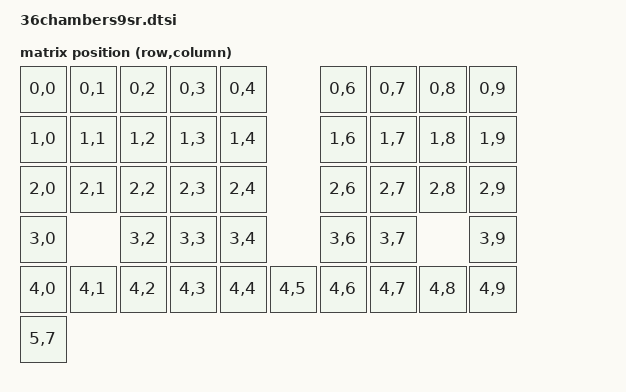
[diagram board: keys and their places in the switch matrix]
/*
 * Copyright (c) 2020 The ZMK Contributors
 *
 * SPDX-License-Identifier: MIT
 */

#include <dt-bindings/zmk/matrix_transform.h>

/ {
	chosen {
		zmk,kscan = &kscan0;
		zmk,matrix_transform = &default_transform;
	};

	default_transform: keymap_transform_0 {
		compatible = "zmk,matrix-transform";
		columns = <10>;
        
		rows = <6>;
// | SW1  | SW2  | SW3  | SW4  | SW5  |   | SW5  | SW4  | SW3  | SW2  | SW1  |
// | SW6  | SW7  | SW8  | SW9  | SW10 |   | SW10 | SW9  | SW8  | SW7  | SW6  |
// | SW11 | SW12 | SW13 | SW14 | SW15 |   | SW15 | SW14 | SW13 | SW12 | SW11 |
// | SW16 |      |      | SW17 | SW18 |   | SW19 | SW19 | SW18 |      | SW16 |
// | U3A  | U3CT | U3C  | U3B  | U3D  |   | SW24 | SW23 | SW22 | SW21 | SW20 |
		map = <
RC(0,0) RC(0,1) RC(0,2) RC(0,3) RC(0,4)           RC(0,6) RC(0,7) RC(0,8) RC(0,9) 
RC(1,0) RC(1,1) RC(1,2) RC(1,3) RC(1,4)           RC(1,6) RC(1,7) RC(1,8) RC(1,9) 
RC(2,0) RC(2,1) RC(2,2) RC(2,3) RC(2,4)           RC(2,6) RC(2,7) RC(2,8) RC(2,9) 
RC(3,0)         RC(3,2) RC(3,3) RC(3,4)           RC(3,6) RC(3,7)         RC(3,9)         
RC(4,0) RC(4,1) RC(4,2) RC(4,3) RC(4,4) RC(4,5)     RC(4,6) RC(4,7) RC(4,8) RC(4,9) 
RC(5,7)
		>;
	};
    // kscan0: kscan {
    //     compatible = "zmk,kscan-gpio-matrix";
    //     diode-direction = "col2row";

    // col-gpios
    //     = <&shifter 0 GPIO_ACTIVE_HIGH>
    //     , <&shifter 1 GPIO_ACTIVE_HIGH>
    //     , <&shifter 2 GPIO_ACTIVE_HIGH>
    //     , <&shifter 3 GPIO_ACTIVE_HIGH>
    //     , <&shifter 4 GPIO_ACTIVE_HIGH>
	// row-gpios
    // 	= <&xiao_d 0 (GPIO_ACTIVE_HIGH | GPIO_PULL_DOWN)>//Row0
    //     , <&xiao_d 1 (GPIO_ACTIVE_HIGH | GPIO_PULL_DOWN)>//Row1
    //     , <&xiao_d 2 (GPIO_ACTIVE_HIGH | GPIO_PULL_DOWN)>//Row2
    //     , <&xiao_d 3 (GPIO_ACTIVE_HIGH | GPIO_PULL_DOWN)>//Row3
    //     , <&xiao_d 8 (GPIO_ACTIVE_HIGH | GPIO_PULL_DOWN)>//Row4
    //     , <&shifter 5 GPIO_ACTIVE_HIGH>
    //     ;
    // };
    // left_encoder: encoder_left {
    //     compatible = "alps,ec11";
    //     a-gpios = <<&shifter 7 GPIO_ACTIVE_HIGH>;
    //     b-gpios = <<&shifter 6 GPIO_ACTIVE_HIGH>;
    //     steps = <80>;
    //     status = "disabled";
    // };
    // right_encoder: encoder_right {
    //     compatible = "alps,ec11";
    //     a-gpios = <&shifter 7 GPIO_ACTIVE_HIGH>;
    //     b-gpios = <&shifter 6 GPIO_ACTIVE_HIGH>;
    //     steps = <80>;
    //     status = "disabled";
    // };
    // sensors: sensors {
    //     compatible = "zmk,keymap-sensors";
    //     sensors = <&left_encoder &right_encoder>;
    //     triggers-per-rotation = <20>;
    // };
};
